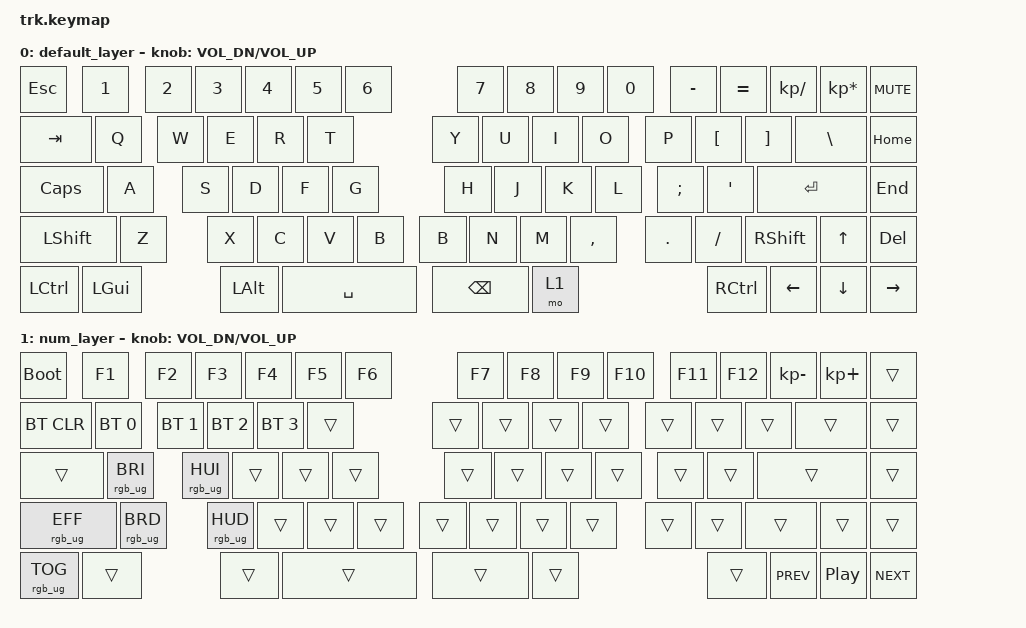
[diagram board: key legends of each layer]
#include <behaviors.dtsi>
#include <dt-bindings/zmk/bt.h>
#include <dt-bindings/zmk/keys.h>
#include <dt-bindings/zmk/pointing.h>
#include <dt-bindings/zmk/rgb.h>

&encoder { status = "okay"; };

/ {
    keymap {
        compatible = "zmk,keymap";

        default_layer {
                bindings = <
                &kp ESC     	&kp N1      	&kp N2      	&kp N3          &kp N4          &kp N5          &kp N6          &kp N7          &kp N8          &kp N9          &kp N0          &kp MINUS       &kp EQUAL       &kp KP_DIVIDE   &kp KP_MULTIPLY
                &kp TAB     	&kp Q       	&kp W       	&kp E           &kp R           &kp T           &kp Y           &kp U           &kp I           &kp O           &kp P           &kp LBKT        &kp RBKT        &kp BSLH        &kp HOME
                &kp CAPS    	&kp A       	&kp S       	&kp D           &kp F           &kp G           &kp H           &kp J           &kp K           &kp L           &kp C_MUTE      &kp SEMI        &kp SQT         &kp RET         &kp END
                &kp LSHFT   	&kp Z       	&kp X       	&kp C           &kp V           &kp B           &kp N           &kp M           &kp COMMA       &kp DOT                         &kp FSLH        &kp RSHFT       &kp UP          &kp DEL
                &kp LCTRL   	&kp LGUI    	&kp LALT    	                &kp SPACE       &kp B           &kp BSPC                        &mo 1                                           &kp RCTRL       &kp LEFT        &kp DOWN        &kp RIGHT
            >;
            sensor-bindings = <&inc_dec_kp C_VOL_DN C_VOL_UP>;
        };


        num_layer {
                bindings = <
                &bootloader		&kp F1			&kp F2			&kp F3          &kp F4		    &kp F5          &kp F6          &kp F7          &kp F8          &kp F9          &kp F10         &kp F11         &kp F12         &kp KP_MINUS    &kp KP_PLUS
                &bt BT_CLR      &bt BT_SEL 0    &bt BT_SEL 1    &bt BT_SEL 2    &bt BT_SEL 3    &trans          &trans          &trans          &trans          &trans          &trans          &trans          &trans          &trans          &trans
                &trans      	&rgb_ug RGB_BRI &rgb_ug RGB_HUI &trans          &trans          &trans          &trans          &trans          &trans          &trans          &trans          &trans          &trans          &trans          &trans
                &rgb_ug RGB_EFF &rgb_ug RGB_BRD &rgb_ug RGB_HUD &trans          &trans          &trans          &trans          &trans          &trans          &trans                          &trans          &trans          &trans          &trans
                &rgb_ug RGB_TOG &trans      	&trans      	                &trans          &trans          &trans                          &trans                                          &trans          &kp C_PREV      &kp C_PP        &kp C_NEXT                                                                       
            >;
            sensor-bindings = <&inc_dec_kp C_VOL_DN C_VOL_UP>;
        };
    };
};
